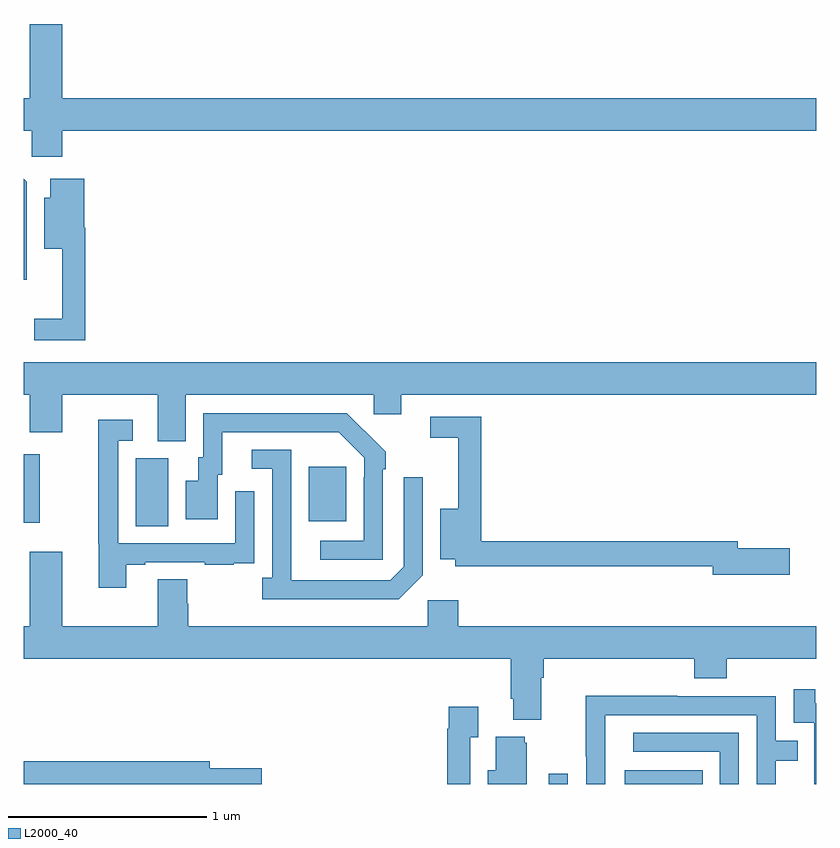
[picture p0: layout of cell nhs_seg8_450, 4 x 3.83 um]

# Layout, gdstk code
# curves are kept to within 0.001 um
import gdstk
lib = gdstk.Library(unit=1e-6, precision=1e-09)
def R(c, l, rs):  # rectangles x0, y0, x1, y1
    for r in rs: c.add(gdstk.rectangle(r[:2], r[2:], *l))
def P(c, l, *ps):  # polygons
    for p in ps: c.add(gdstk.Polygon(p, *l))
L2000_40 = (2000, 40)

nhs_seg8_450 = lib.new_cell('nhs_seg8_450')
R(nhs_seg8_450, L2000_40, [(143.649,1083.9,143.745,1083.952), (144.032,1083.9,144.428,1083.97), (141.566,1085.2,141.73,1085.544), (141,1085.219,141.082,1085.563), (142.439,1085.225,142.627,1085.5)])
P(nhs_seg8_450, L2000_40, [(141.194,1087.196),(145,1087.196),(145,1087.36),(141.196,1087.36),(141.196,1087.735),(141.032,1087.735),(141.032,1087.36),(141,1087.36),(141,1087.196),(141.042,1087.196),(141.042,1087.065),(141.194,1087.065)],
  [(141.311,1086.706),(141.305,1086.706),(141.305,1086.955),(141.134,1086.955),(141.134,1086.859),(141.104,1086.859),(141.104,1086.602),(141.194,1086.602),(141.194,1086.247),(141.054,1086.247),(141.054,1086.138),(141.311,1086.138)],
  [(141.015,1086.939),(141,1086.954),(141,1086.444),(141.015,1086.444)],
  [(141,1085.864),(141.032,1085.864),(141.032,1085.676),(141.196,1085.676),(141.196,1085.864),(141.677,1085.864),(141.677,1085.629),(141.817,1085.629),(141.817,1085.864),(142.767,1085.864),(142.767,1085.766),(142.906,1085.766),(142.906,1085.864),(145,1085.864),(145,1086.028),(141,1086.028)],
  [(142.812,1085.489),(142.827,1085.489),(142.827,1085.577),(142.63,1085.772),(141.906,1085.772),(141.906,1085.55),(141.881,1085.55),(141.881,1085.431),(141.818,1085.431),(141.818,1085.235),(141.979,1085.235),(141.979,1085.46),(142.003,1085.46),(142.003,1085.676),(142.591,1085.676),(142.719,1085.547),(142.719,1085.447),(142.716,1085.447),(142.716,1085.127),(142.497,1085.127),(142.497,1085.031),(142.812,1085.031)],
  [(144.865,1085.09),(144.604,1085.09),(144.604,1085.126),(143.309,1085.126),(143.309,1085.754),(143.052,1085.754),(143.052,1085.646),(143.192,1085.646),(143.192,1085.29),(143.102,1085.29),(143.102,1085.033),(143.178,1085.033),(143.178,1084.998),(144.476,1084.998),(144.476,1084.955),(144.865,1084.955)],
  [(141.517,1085.007),(141.613,1085.007),(141.613,1085.019),(141.913,1085.019),(141.913,1085.007),(142.061,1085.007),(142.061,1085.013),(142.163,1085.013),(142.163,1085.122),(142.164,1085.122),(142.164,1085.377),(142.068,1085.377),(142.068,1085.115),(141.477,1085.115),(141.477,1085.631),(141.55,1085.631),(141.55,1085.737),(141.376,1085.737),(141.376,1085.112),(141.38,1085.112),(141.38,1084.89),(141.517,1084.89)],
  [(143.013,1084.953),(143.013,1085.449),(142.917,1085.449),(142.917,1084.995),(142.851,1084.929),(142.351,1084.929),(142.35,1085.586),(142.152,1085.586),(142.152,1085.49),(142.254,1085.49),(142.254,1084.942),(142.203,1084.942),(142.203,1084.832),(142.892,1084.832)],
  [(143.611,1084.436),(143.624,1084.436),(143.624,1084.532),(144.383,1084.532),(144.383,1084.433),(144.548,1084.433),(144.548,1084.532),(145,1084.532),(145,1084.696),(143.192,1084.696),(143.192,1084.828),(143.04,1084.828),(143.04,1084.696),(141.83,1084.696),(141.83,1084.809),(141.825,1084.809),(141.825,1084.934),(141.677,1084.934),(141.677,1084.696),(141.196,1084.696),(141.196,1085.071),(141.032,1085.071),(141.032,1084.696),(141,1084.696),(141,1084.532),(143.459,1084.532),(143.459,1084.33),(143.471,1084.33),(143.471,1084.223),(143.611,1084.223)],
  [(145,1084.308),(144.994,1084.308),(144.994,1084.378),(144.885,1084.378),(144.885,1084.209),(144.99,1084.209),(144.99,1083.98),(144.989,1083.98),(144.989,1083.9),(145,1083.9)],
  [(143.934,1083.994),(143.935,1083.994),(143.935,1084.248),(144.699,1084.248),(144.699,1083.9),(144.795,1083.9),(144.795,1084.018),(144.905,1084.018),(144.905,1084.119),(144.795,1084.119),(144.795,1084.344),(144.299,1084.344),(144.299,1084.346),(143.836,1084.346),(143.836,1084.039),(143.838,1084.039),(143.838,1083.9),(143.934,1083.9)],
  [(143.253,1084.135),(143.293,1084.135),(143.293,1084.291),(143.145,1084.291),(143.145,1084.178),(143.137,1084.178),(143.137,1083.9),(143.253,1083.9)],
  [(144.609,1084.158),(144.075,1084.158),(144.075,1084.062),(144.513,1084.062),(144.513,1083.9),(144.609,1083.9)],
  [(143.539,1084.107),(143.528,1084.107),(143.528,1084.138),(143.381,1084.138),(143.381,1083.97),(143.342,1083.97),(143.342,1083.9),(143.539,1083.9)],
  [(142.201,1083.98),(141.94,1083.98),(141.94,1084.016),(141,1084.016),(141,1083.9),(142.201,1083.9)])

lib.write_gds('nhs_seg8_450.gds')
